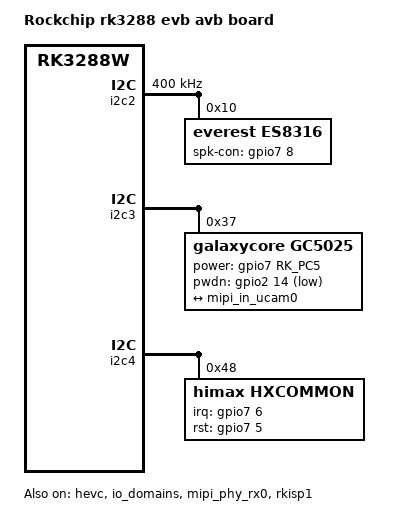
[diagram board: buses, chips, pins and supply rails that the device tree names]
/*
 * Copyright (c) 2018 Fuzhou Rockchip Electronics Co., Ltd
 *
 * SPDX-License-Identifier: (GPL-2.0+ OR MIT)
 */

/dts-v1/;
#include "rk3288-r86-android-rk818-mipi.dtsi"

/ {
	model = "Rockchip rk3288 evb avb board";
	compatible = "rockchip,rk3288-evb-android-rk818-mipi", "rockchip,rk3288w";
	chosen: chosen {
		bootargs = "earlycon=uart8250,mmio32,0xff690000 vmalloc=496M console=ttyFIQ0 androidboot.baseband=N/A androidboot.veritymode=enforcing androidboot.hardware=rk30board androidboot.console=ttyFIQ0 init=/init kpti=0";
	};
};

&hevc {
	status = "okay";
	clock-names = "aclk_vcodec", "hclk_vcodec", "clk_core", "clk_cabac";
	rockchip,normal-rates = <300000000>, <0>, <200000000>, <200000000>;
	rockchip,advanced-rates = <600000000>, <0>, <500000000>, <500000000>;
};

&io_domains {
	status = "okay";

	dvp-supply = <&vcc_18>;//vcc18_lcd//ldo output
};

&isp_mmu {
	status = "okay";
};

&i2c2 {
	status = "okay";
	i2c-scl-rising-time-ns = <140>;
	i2c-scl-falling-time-ns = <30>;
	clock-frequency = <400000>;

	es8316: es8316@10 {
		#sound-dai-cells = <0>;
		compatible = "everest,es8316";
		reg = <0x10>;
		clocks = <&cru SCLK_I2S0_OUT>;
		clock-names = "mclk";
		pinctrl-names = "default";
		pinctrl-0 = <&i2s0_mclk>;
		//pinctrl-1 = <&hp_det>;
		//pinctrl-2 = <&hp_con>;	
        spk-con-gpio = <&gpio7 8 GPIO_ACTIVE_HIGH>;
		//hp-det-gpio = <&gpio4 RK_PD4 GPIO_ACTIVE_HIGH>; 	
        //hp-con-gpio = <&gpio7 9 GPIO_ACTIVE_HIGH>;
		spk_volume = <0xbb>;		
		extcon = <&rk_headset>;
		status = "okay";		
	};

	nfc-bcm2079x@76 {
		compatible = "nfc-bcm2079x.ap6441";
		reg = <0x76>;
		//pw_gpio = <&gpio7 21 GPIO_ACTIVE_HIGH>;//gpio7_c5
		//pw_gpio = <&gpio7 16 GPIO_ACTIVE_HIGH>;//gpio7_c0 
		en_gpio = <&gpio8 8 GPIO_ACTIVE_HIGH>;//gpio7_b6
		wake_gpio = <&gpio0 14 GPIO_ACTIVE_HIGH>;//gpio7_b7
		irq_gpio = <&gpio0 1 IRQ_TYPE_EDGE_RISING>;//gpio0_a1
		status = "disabled";
    };
};

&i2c3 {
	status = "okay";

	sgm3784: sgm3784@30 {
		#address-cells = <1>;
		#size-cells = <0>;
		compatible = "sgmicro,gsm3784";
		reg = <0x30>;
		rockchip,camera-module-index = <0>;
		rockchip,camera-module-facing = "back";
		enable-gpio = <&gpio7 RK_PB6 GPIO_ACTIVE_HIGH>;
		strobe-gpio = <&gpio7 RK_PB5 GPIO_ACTIVE_HIGH>;
		status = "disabled";
		sgm3784_led0: led@0 {
			reg = <0x0>;
			led-max-microamp = <299200>;
			flash-max-microamp = <1122000>;
			flash-max-timeout-us = <1600000>;
		};

		sgm3784_led1: led@1 {
			reg = <0x1>;
			led-max-microamp = <299200>;
			flash-max-microamp = <1122000>;
			flash-max-timeout-us = <1600000>;
		};
	};

	vm149c: vm149c@0c {
		compatible = "silicon touch,vm149c";
		status = "disabled";
		reg = <0x0c>;
		rockchip,camera-module-index = <0>;
		rockchip,camera-module-facing = "back";
	};

	ov13850: ov13850@10 {
		status = "disabled";
		compatible = "ovti,ov13850";
		reg = <0x10>;
		clocks = <&cru SCLK_VIP_OUT>;
		clock-names = "xvclk";
		/* avdd-supply = <>; */
		/* dvdd-supply = <>; */
		/* dovdd-supply = <>; */
		/* reset-gpios = <>; */
		pinctrl-names = "rockchip,camera_default";
		pinctrl-0 = <&isp_mipi>;
		power-gpio = <&gpio0 RK_PC1 GPIO_ACTIVE_HIGH>;
		pwdn-gpios = <&gpio2 RK_PB7 GPIO_ACTIVE_HIGH>;
		rockchip,camera-module-index = <0>;
		rockchip,camera-module-facing = "back";
		rockchip,camera-module-name = "CMK-CT0116";
		rockchip,camera-module-lens-name = "Largan-50013A1";
		lens-focus = <&vm149c>;
		flash-leds = <&sgm3784_led0 &sgm3784_led1>;
		port {
			ov13850_out: endpoint {
				remote-endpoint = <&mipi_in_ucam0>;
				data-lanes = <1 2>;
			};
		};
	};
	
	gc5025: gc5025@37 {
		compatible = "galaxycore,gc5025";
		status = "okay";
		reg = <0x37>;
		//clocks = <&cru SCLK_CIF_OUT>;
		clocks = <&cru SCLK_VIP_OUT>;
		clock-names = "xvclk";
		/* avdd-supply = <>; */
		/* dvdd-supply = <>; */
		/* dovdd-supply = <>; */
		/* reset-gpios = <>; */
		//dovdd-supply = <&vcc1v8_dvp>;          
		//reset-gpios = <&gpio2 0 GPIO_ACTIVE_HIGH>; 
		power-gpio = <&gpio7 RK_PC5 GPIO_ACTIVE_HIGH>;
        pwdn-gpios = <&gpio2 14 GPIO_ACTIVE_LOW>;
		pinctrl-names = "rockchip,camera_default";
		pinctrl-0 = <&isp_mipi>;		
		rockchip,camera-module-index = <0>;
		rockchip,camera-module-facing = "front";
		rockchip,camera-module-name = "CMK-CW4191-FG1";
		rockchip,camera-module-lens-name = "CK5502";                

		port {
				ucam_out0: endpoint {
						remote-endpoint = <&mipi_in_ucam0>;
						//remote-endpoint = <&mipi_in_ucam1>;
						data-lanes = <1 2>;
				};
		};
    }; 
	
};

&i2c4 {
	status = "okay";
	
	himax@48 {
		status = "okay";
		compatible = "himax,hxcommon";
		reg = <0x48>;
		himax,panel-coords = <0 2000 0 1200>;
		himax,display-coords = <0 2000 0 1200>;
		himax,irq-gpio = <&gpio7 6 IRQ_TYPE_EDGE_FALLING>;  	
	 	himax,rst-gpio = <&gpio7 5 GPIO_ACTIVE_HIGH>;  
    };
};

&mipi_phy_rx0 {
	status = "okay";

	ports {
		#address-cells = <1>;
		#size-cells = <0>;

		port@0 {
			reg = <0>;
			#address-cells = <1>;
			#size-cells = <0>;

			mipi_in_ucam0: endpoint@1 {
				reg = <1>;
				remote-endpoint = <&ucam_out0>;
				data-lanes = <1 2>;
			};
		};

		port@1 {
			reg = <1>;
			#address-cells = <1>;
			#size-cells = <0>;

			dphy_rx_out: endpoint@0 {
				reg = <0>;
				remote-endpoint = <&isp_mipi_in>;
			};
		};
	};
};

&rkisp1 {
	status = "okay";
	port {
		#address-cells = <1>;
		#size-cells = <0>;

		isp_mipi_in: endpoint@0 {
			reg = <0>;
			remote-endpoint = <&dphy_rx_out>;
		};

	};
};

#if 0 //for R86 10.36
&vopb {
	assigned-clocks = <&cru DCLK_VOP0>;
	assigned-clock-parents = <&cru PLL_GPLL>;
};

&vopl {
	assigned-clocks = <&cru DCLK_VOP1>;
	assigned-clock-parents = <&cru PLL_CPLL>;
};
#endif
